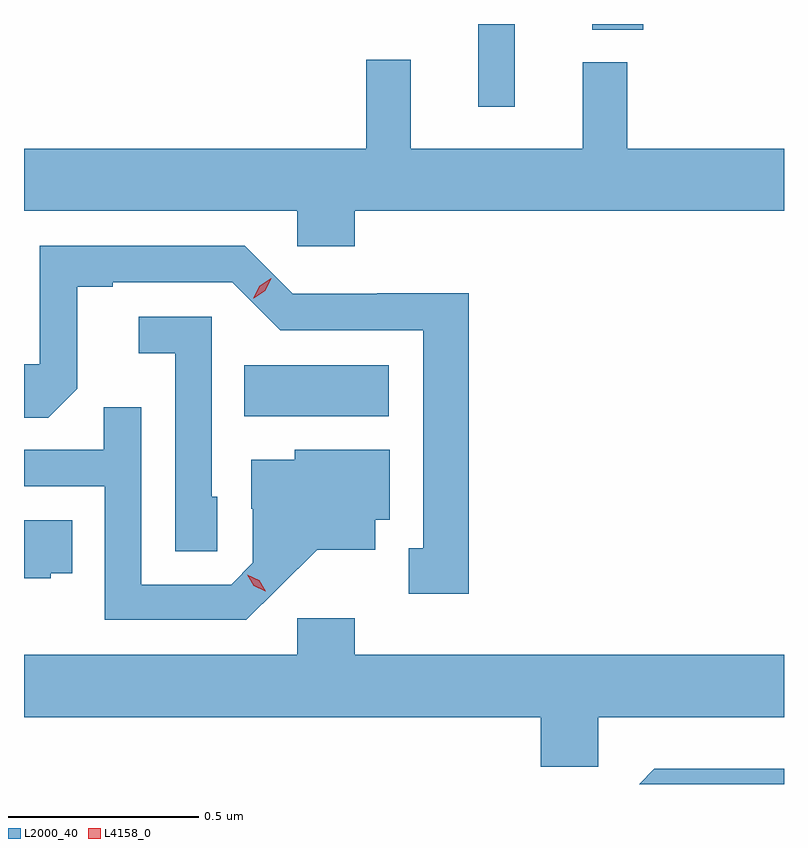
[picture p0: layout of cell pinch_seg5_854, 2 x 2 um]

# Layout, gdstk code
import gdstk
lib = gdstk.Library(unit=1e-6, precision=1e-09)
def R(c, l, rs):  # rectangles x0, y0, x1, y1
    for r in rs: c.add(gdstk.rectangle(r[:2], r[2:], *l))
def P(c, l, *ps):  # polygons
    for p in ps: c.add(gdstk.Polygon(p, *l))
L2000_40 = (2000, 40)
L4158_0 = (4158, 0)

pinch_seg5_854 = lib.new_cell('pinch_seg5_854')
R(pinch_seg5_854, L2000_40, [(772.51,877.532,772.891,877.666), (773.126,878.346,773.223,878.564), (773.426,878.549,773.561,878.564)])
P(pinch_seg5_854, L2000_40, [(772.802,878.072),(773.931,878.072),(773.931,878.236),(773.519,878.236),(773.519,878.464),(773.402,878.464),(773.402,878.236),(772.949,878.236),(772.949,878.47),(772.831,878.47),(772.831,878.236),(771.931,878.236),(771.931,878.072),(772.65,878.072),(772.65,877.979),(772.802,877.979)],
  [(773.101,877.856),(772.86,877.856),(772.86,877.854),(772.638,877.854),(772.512,877.98),(771.972,877.98),(771.972,877.668),(771.931,877.668),(771.931,877.528),(771.995,877.528),(772.071,877.604),(772.071,877.872),(772.165,877.872),(772.165,877.884),(772.479,877.884),(772.605,877.758),(772.982,877.758),(772.982,877.185),(772.943,877.185),(772.943,877.065),(773.101,877.065)],
  [(772.44,877.32),(772.425,877.32),(772.425,877.794),(772.233,877.794),(772.233,877.697),(772.329,877.697),(772.329,877.177),(772.44,877.177)],
  [(772.6,877.079),(772.703,877.181),(772.855,877.181),(772.855,877.26),(772.894,877.26),(772.894,877.444),(772.644,877.444),(772.644,877.417),(772.529,877.417),(772.529,877.288),(772.533,877.288),(772.533,877.146),(772.476,877.089),(772.239,877.089),(772.239,877.556),(772.141,877.556),(772.141,877.443),(771.931,877.443),(771.931,877.347),(772.143,877.347),(772.143,876.996),(772.516,876.996)],
  [(772.002,877.118),(772.058,877.118),(772.058,877.258),(771.931,877.258),(771.931,877.106),(772.002,877.106)],
  [(773.442,876.74),(773.931,876.74),(773.931,876.904),(772.802,876.904),(772.802,877),(772.65,877),(772.65,876.904),(771.931,876.904),(771.931,876.74),(773.291,876.74),(773.291,876.609),(773.442,876.609)],
  [(773.931,876.604),(773.59,876.604),(773.55,876.564),(773.931,876.564)])
P(pinch_seg5_854, L4158_0, [(772.534,877.842),(772.534,877.842),(772.551,877.875),(772.582,877.895),(772.582,877.895),(772.582,877.894),(772.566,877.862),(772.535,877.842)],
  [(772.566,877.071),(772.536,877.086),(772.519,877.115),(772.519,877.115),(772.519,877.115),(772.55,877.1),(772.567,877.071),(772.567,877.071)])

lib.write_gds('pinch_seg5_854.gds')
